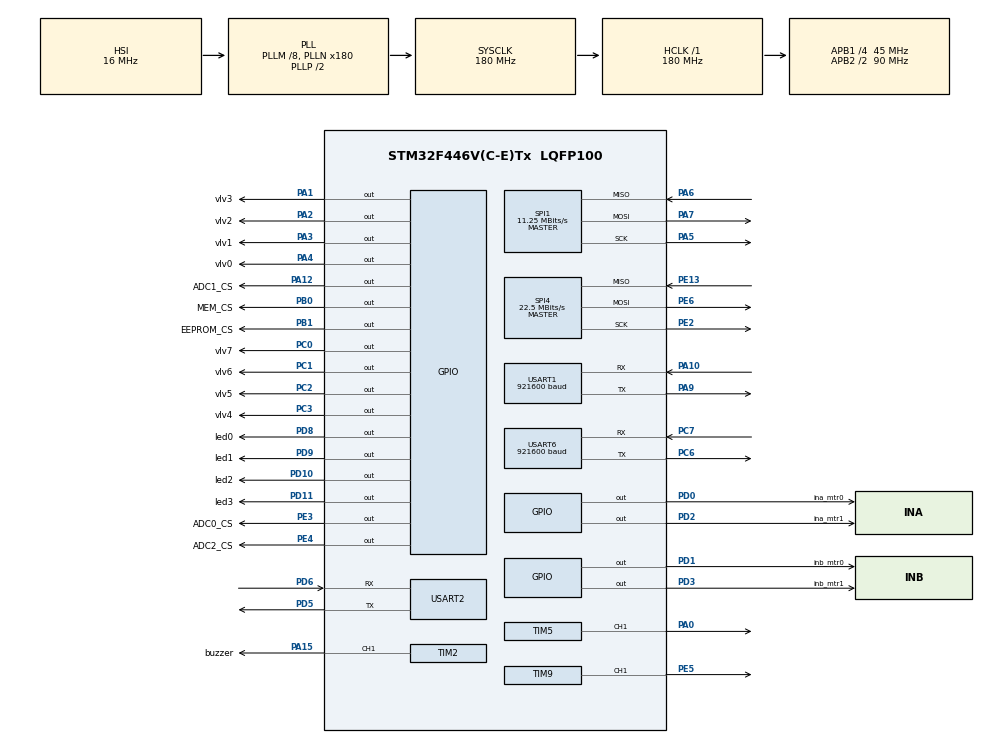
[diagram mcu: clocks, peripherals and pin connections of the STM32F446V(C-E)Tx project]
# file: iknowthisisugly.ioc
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Dma.Request0=USART6_RX
Dma.USART6_RX.0.Direction=DMA_PERIPH_TO_MEMORY
Dma.USART6_RX.0.FIFOMode=DMA_FIFOMODE_DISABLE
Dma.USART6_RX.0.Instance=DMA2_Stream1
Dma.USART6_RX.0.MemDataAlignment=DMA_MDATAALIGN_BYTE
Dma.USART6_RX.0.MemInc=DMA_MINC_ENABLE
Dma.USART6_RX.0.Mode=DMA_NORMAL
Dma.USART6_RX.0.PeriphDataAlignment=DMA_PDATAALIGN_BYTE
Dma.USART6_RX.0.PeriphInc=DMA_PINC_DISABLE
Dma.USART6_RX.0.Priority=DMA_PRIORITY_HIGH
Mcu.Family=STM32F4
Mcu.Name=STM32F446V(C-E)Tx
Mcu.Package=LQFP100
NVIC.DMA2_Stream1_IRQn=true\:0\:0\:false\:false\:true\:false
NVIC.PriorityGroup=NVIC_PRIORITYGROUP_4
NVIC.TIM4_IRQn=true\:1\:0\:true\:false\:true\:true
NVIC.TIM6_DAC_IRQn=true\:1\:0\:true\:false\:true\:true
NVIC.USART1_IRQn=true\:1\:0\:true\:false\:true\:true
NVIC.USART6_IRQn=true\:0\:0\:true\:false\:true\:true
PA0-WKUP.Signal=S_TIM5_CH1
PA1.GPIO_Label=vlv3
PA1.Signal=GPIO_Output
PA10.Mode=Asynchronous
PA10.Signal=USART1_RX
PA12.GPIO_Label=ADC1_CS
PA12.Signal=GPIO_Output
PA13.Mode=Trace_Asynchronous_SW
PA13.Signal=SYS_JTMS-SWDIO
PA14.Mode=Trace_Asynchronous_SW
PA14.Signal=SYS_JTCK-SWCLK
PA15.GPIO_Label=buzzer
PA15.Signal=S_TIM2_CH1_ETR
PA2.GPIO_Label=vlv2
PA2.Signal=GPIO_Output
PA3.GPIO_Label=vlv1
PA3.Signal=GPIO_Output
PA4.GPIO_Label=vlv0
PA4.Signal=GPIO_Output
PA5.Mode=Full_Duplex_Master
PA5.Signal=SPI1_SCK
PA6.Mode=Full_Duplex_Master
PA6.Signal=SPI1_MISO
PA7.Mode=Full_Duplex_Master
PA7.Signal=SPI1_MOSI
PA9.Mode=Asynchronous
PA9.Signal=USART1_TX
PB0.GPIO_Label=MEM_CS
PB0.Signal=GPIO_Output
PB1.GPIO_Label=EEPROM_CS
PB1.Signal=GPIO_Output
PB3.Mode=Trace_Asynchronous_SW
PB3.Signal=SYS_JTDO-SWO
PC0.GPIO_Label=vlv7
PC0.Signal=GPIO_Output
PC1.GPIO_Label=vlv6
PC1.Signal=GPIO_Output
PC2.GPIO_Label=vlv5
PC2.Signal=GPIO_Output
PC3.GPIO_Label=vlv4
PC3.Signal=GPIO_Output
PC6.Mode=Asynchronous
PC6.Signal=USART6_TX
PC7.Mode=Asynchronous
PC7.Signal=USART6_RX
PD0.GPIO_Label=ina_mtr0
PD0.Signal=GPIO_Output
PD1.GPIO_Label=inb_mtr0
PD1.Signal=GPIO_Output
PD10.GPIO_Label=led2
PD10.Signal=GPIO_Output
PD11.GPIO_Label=led3
PD11.Signal=GPIO_Output
PD2.GPIO_Label=ina_mtr1
PD2.Signal=GPIO_Output
PD3.GPIO_Label=inb_mtr1
PD3.Signal=GPIO_Output
PD5.Mode=Asynchronous
PD5.Signal=USART2_TX
PD6.Mode=Asynchronous
PD6.Signal=USART2_RX
PD8.GPIO_Label=led0
PD8.Signal=GPIO_Output
PD9.GPIO_Label=led1
PD9.Signal=GPIO_Output
PE13.Mode=Full_Duplex_Master
PE13.Signal=SPI4_MISO
PE2.Mode=Full_Duplex_Master
PE2.Signal=SPI4_SCK
PE3.GPIO_Label=ADC0_CS
PE3.Signal=GPIO_Output
PE4.GPIO_Label=ADC2_CS
PE4.Signal=GPIO_Output
PE5.Signal=S_TIM9_CH1
PE6.Mode=Full_Duplex_Master
PE6.Signal=SPI4_MOSI
ProjectManager.HeapSize=0x200
ProjectManager.StackSize=0x400
ProjectManager.TargetToolchain=TrueSTUDIO
RCC.AHBFreq_Value=180000000
RCC.APB1CLKDivider=RCC_HCLK_DIV4
RCC.APB1Freq_Value=45000000
RCC.APB1TimFreq_Value=90000000
RCC.APB2CLKDivider=RCC_HCLK_DIV2
RCC.APB2Freq_Value=90000000
RCC.APB2TimFreq_Value=180000000
RCC.CortexFreq_Value=180000000
RCC.HCLKFreq_Value=180000000
RCC.HSE_VALUE=16000000
RCC.PLLM=8
RCC.PLLN=180
RCC.SYSCLKFreq_VALUE=180000000
RCC.SYSCLKSource=RCC_SYSCLKSOURCE_PLLCLK
RCC.USBFreq_Value=180000000
RCC.VCOOutputFreq_Value=360000000
SH.S_TIM2_CH1_ETR.0=TIM2_CH1,PWM Generation1 CH1
SH.S_TIM5_CH1.0=TIM5_CH1,PWM Generation1 CH1
SH.S_TIM9_CH1.0=TIM9_CH1,PWM Generation1 CH1
SPI1.BaudRatePrescaler=SPI_BAUDRATEPRESCALER_8
SPI1.CLKPhase=SPI_PHASE_2EDGE
SPI1.CLKPolarity=SPI_POLARITY_HIGH
SPI1.CalculateBaudRate=11.25 MBits/s
SPI1.Direction=SPI_DIRECTION_2LINES
SPI1.Mode=SPI_MODE_MASTER
SPI1.VirtualType=VM_MASTER
SPI4.BaudRatePrescaler=SPI_BAUDRATEPRESCALER_4
SPI4.CalculateBaudRate=22.5 MBits/s
SPI4.Direction=SPI_DIRECTION_2LINES
SPI4.Mode=SPI_MODE_MASTER
SPI4.VirtualType=VM_MASTER
TIM10.Period=4000
TIM10.Prescaler=180
TIM2.Channel-PWM\ Generation1\ CH1=TIM_CHANNEL_1
TIM2.Period=4294967295
TIM2.Prescaler=90
TIM4.Period=10000
TIM4.Prescaler=900
TIM5.Channel-PWM\ Generation1\ CH1=TIM_CHANNEL_1
TIM5.Prescaler=0
TIM6.Period=10000
TIM6.Prescaler=900
TIM7.Prescaler=900
TIM8.Period=32768
TIM8.Prescaler=4
TIM9.Channel-PWM\ Generation1\ CH1=TIM_CHANNEL_1
TIM9.Period=32768
TIM9.Prescaler=0
USART1.BaudRate=921600
USART1.VirtualMode=VM_ASYNC
USART2.VirtualMode=VM_ASYNC
USART6.BaudRate=921600
USART6.VirtualMode=VM_ASYNC
VP_TIM10_VS_ClockSourceINT.Mode=Enable_Timer
VP_TIM3_VS_ClockSourceINT.Mode=Internal
VP_TIM4_VS_ClockSourceINT.Mode=Internal
VP_TIM6_VS_ClockSourceINT.Mode=Enable_Timer
VP_TIM7_VS_ClockSourceINT.Mode=Enable_Timer
VP_TIM8_VS_ClockSourceINT.Mode=Internal
board=iknowthisisugly

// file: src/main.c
/**
  ******************************************************************************
  * @file           : main.c
  * @brief          : Main program body
  ******************************************************************************
  ** This notice applies to any and all portions of this file
  * that are not between comment pairs USER CODE BEGIN and
  * USER CODE END. Other portions of this file, whether
  * inserted by the user or by software development tools
  * are owned by their respective copyright owners.
  *
  * COPYRIGHT(c) 2018 STMicroelectronics
  *
  * Redistribution and use in source and binary forms, with or without modification,
  * are permitted provided that the following conditions are met:
  *   1. Redistributions of source code must retain the above copyright notice,
  *      this list of conditions and the following disclaimer.
  *   2. Redistributions in binary form must reproduce the above copyright notice,
  *      this list of conditions and the following disclaimer in the documentation
  *      and/or other materials provided with the distribution.
  *   3. Neither the name of STMicroelectronics nor the names of its contributors
  *      may be used to endorse or promote products derived from this software
  *      without specific prior written permission.
  *
  * THIS SOFTWARE IS PROVIDED BY THE COPYRIGHT HOLDERS AND CONTRIBUTORS "AS IS"
  * AND ANY EXPRESS OR IMPLIED WARRANTIES, INCLUDING, BUT NOT LIMITED TO, THE
  * IMPLIED WARRANTIES OF MERCHANTABILITY AND FITNESS FOR A PARTICULAR PURPOSE ARE
  * DISCLAIMED. IN NO EVENT SHALL THE COPYRIGHT HOLDER OR CONTRIBUTORS BE LIABLE
  * FOR ANY DIRECT, INDIRECT, INCIDENTAL, SPECIAL, EXEMPLARY, OR CONSEQUENTIAL
  * DAMAGES (INCLUDING, BUT NOT LIMITED TO, PROCUREMENT OF SUBSTITUTE GOODS OR
  * SERVICES; LOSS OF USE, DATA, OR PROFITS; OR BUSINESS INTERRUPTION) HOWEVER
  * CAUSED AND ON ANY THEORY OF LIABILITY, WHETHER IN CONTRACT, STRICT LIABILITY,
  * OR TORT (INCLUDING NEGLIGENCE OR OTHERWISE) ARISING IN ANY WAY OUT OF THE USE
  * OF THIS SOFTWARE, EVEN IF ADVISED OF THE POSSIBILITY OF SUCH DAMAGE.
  *
  ******************************************************************************
  */
#include "main.h"
#include "stm32f4xx_hal.h"

/* USER CODE BEGIN Includes */
#include "stdint.h"
#include "stdlib.h"
#include "globals.h"
#include "calibrations.h"
#include "telem.h"
#include "pack_telem_defines.h"
/* USER CODE END Includes */

SPI_HandleTypeDef hspi1;
SPI_HandleTypeDef hspi4;

TIM_HandleTypeDef htim2;
TIM_HandleTypeDef htim3;
TIM_HandleTypeDef htim4;
TIM_HandleTypeDef htim5;
TIM_HandleTypeDef htim6;
TIM_HandleTypeDef htim7;
TIM_HandleTypeDef htim8;
TIM_HandleTypeDef htim9;
TIM_HandleTypeDef htim10;

UART_HandleTypeDef huart1;
UART_HandleTypeDef huart2;
UART_HandleTypeDef huart6;
DMA_HandleTypeDef hdma_usart6_rx;

/* USER CODE BEGIN PV */
/* Private variables ---------------------------------------------------------*/

#define getName(var)  #var
#define get_state(x) (states[x])
#define TIME(x)			(x[0] = (__HAL_TIM_GET_COUNTER(&htim2) - x[1])+1); \
						(x[1] = __HAL_TIM_GET_COUNTER(&htim2))

#define micros	__HAL_TIM_GET_COUNTER(&htim2)
#define millis	((__HAL_TIM_GET_COUNTER(&htim2))/1000)

/* USER CODE END PV */

void SystemClock_Config(void);
static void MX_GPIO_Init(void);
static void MX_DMA_Init(void);
static void MX_SPI1_Init(void);
static void MX_SPI4_Init(void);
static void MX_TIM2_Init(void);
static void MX_TIM9_Init(void);
static void MX_USART1_UART_Init(void);
static void MX_USART2_UART_Init(void);
static void MX_USART6_UART_Init(void);
static void MX_TIM3_Init(void);
static void MX_TIM4_Init(void);
static void MX_TIM6_Init(void);
static void MX_TIM7_Init(void);
static void MX_TIM8_Init(void);
static void MX_TIM10_Init(void);
static void MX_TIM5_Init(void);

void HAL_TIM_MspPostInit(TIM_HandleTypeDef *htim);

/* USER CODE BEGIN PFP */
/* Private function prototypes -----------------------------------------------*/

// Function prototypes  ///////////////////////////////////
void command(uint8_t device, int16_t command_value);	 	// Motors, valves
void select_device(uint8_t device);							// For SPI Devices
void release_device(uint8_t device);						// For SPI Devices
void read_adc_brute();										// Brute force read all the adcs. Blocking. Slow. Lazy.
void print_adc_raw(UART_HandleTypeDef device);				// Print all the ADC things in a decentish table
uint8_t configure_devices();								// Send Configuration data to the spirit.
void send_telem(UART_HandleTypeDef device, uint8_t format);	//
void assemble_telem();
uint32_t serial_command(uint8_t* cbuf_in);
void scale_readings();
void buffer_init(struct buffer *b, uint8_t* data_buffer, size_t size, uint8_t id);
void buffer_read(struct buffer *b, uint8_t* dst, size_t size);
void buffer_write(struct buffer *b, uint8_t* src, size_t size);
void parse_buffer(struct buffer *b);
void setpwm(TIM_HandleTypeDef timer, uint32_t channel, uint16_t period, uint16_t pulse);
void error(char * error_message);
void writeMotor(uint8_t device, int16_t motor_command);
void motor_control();
void read_thermocouples();
void run_auto(struct autosequence *a);
void start_auto(struct autosequence *a);
void stop_auto(struct autosequence *a);
void kill_auto(struct autosequence *a);

// END Function prototypes  ///////////////////////////////

/* USER CODE END PFP */

int main(void)
{

  /* MCU Configuration----------------------------------------------------------*/

  /* Reset of all peripherals, Initializes the Flash interface and the Systick. */
  HAL_Init();

  /* Configure the system clock */
  SystemClock_Config();

  /* Initialize all configured peripherals */
  MX_GPIO_Init();
  MX_DMA_Init();
  MX_SPI1_Init();
  MX_SPI4_Init();
  MX_TIM2_Init();
  MX_TIM9_Init();
  MX_USART1_UART_Init();
  MX_USART2_UART_Init();
  MX_USART6_UART_Init();
  MX_TIM3_Init();
  MX_TIM4_Init();
  MX_TIM6_Init();
  MX_TIM7_Init();
  MX_TIM8_Init();
  MX_TIM10_Init();
  MX_TIM5_Init();
  /* USER CODE BEGIN 2 */

  STATE = MANUAL;
  // Init device alias array because idk how to do it without strcpy :(
	temp = 0;
	for(uint8_t device = vlv0; device <= vlv15; device ++){
	  uint8_t alias[10] = "vlv";
	  if(device < vlv10){
		  alias[3] = temp++ + 48;
	  }
	  else{
		  alias[3] = 1 + 48;
		  alias[4] = temp++ + 38;
	  }
	  strcpy(device_alias[device], alias);
	}
	strcpy(device_alias[delay], "delay");
	strcpy(device_alias[led0], "led0");
	strcpy(device_alias[mtr0], "mtr0");
	strcpy(device_alias[mtr1], "mtr1");
	strcpy(device_alias[mtr2], "mtr2");
	strcpy(device_alias[mtr3], "mtr3");

	// Set auto numbers
	for(int n = 0; n < NUM_AUTOS; n++){
		autos[n].number = n;
	}

	serial_command("set samplerate 50");
	// Motor control loop rate
	htim10.Instance = TIM10;
	htim10.Init.Prescaler = 180;
	htim10.Init.CounterMode = TIM_COUNTERMODE_UP;
	htim10.Init.Period = 10000;
	htim10.Init.ClockDivision = TIM_CLOCKDIVISION_DIV1;
	if (HAL_TIM_Base_Init(&htim10) != HAL_OK)
	{
	Error_Handler();
	}

	// Start the timers
	HAL_TIM_Base_Start_IT(&htim4);		// ADC sampling
	HAL_TIM_Base_Start_IT(&htim6);		// rs422 timing
	HAL_TIM_Base_Start_IT(&htim7);		// xbee timing
	HAL_TIM_Base_Start_IT(&htim10);		// motor control timing
	HAL_TIM_Base_Start_IT(&htim2);		// microsecond tick

	HAL_TIM_PWM_Start(&htim9, TIM_CHANNEL_1); 	// mtr0
	HAL_TIM_PWM_Start(&htim5, TIM_CHANNEL_1);	// mtr1
	HAL_TIM_PWM_Start(&htim8, TIM_CHANNEL_1);	// mtr2
	HAL_TIM_PWM_Start(&htim12, TIM_CHANNEL_1);	// mtr3

	// Release all SPI devices
	release_device(adc0);
	release_device(adc1);
	release_device(adc2);
	release_device(adc3);
	release_device(adc4);
	release_device(sram);
	release_device(flash);
	release_device(tc0);
	release_device(tc1);
	release_device(tc2);
	release_device(tc3);
	release_device(spirit);		// Technically not a SPI device

	configure_devices();

	// Start receiving data
	select_device(spirit);

	buffer_init(&spirit_buf, spirit_data_buf, UART_BUFFER_SIZE, spirit);
	buffer_init(&rs422_buf, rs422_data_buf, UART_BUFFER_SIZE, rs422);
	buffer_init(&xbee_buf, xbee_data_buf, UART_BUFFER_SIZE, xbee);

	HAL_UART_Receive_IT(&spirit_com, &spirit_in, 1);
	HAL_UART_Receive_IT(&rs422_com, &rs422_in, 1);
	HAL_UART_Receive_IT(&xbee_com, &xbee_in, 1);
	//

  /* USER CODE END 2 */

  /* Infinite loop */
  /* USER CODE BEGIN WHILE */

//while(1){
//	read_adc_brute();
//	scale_readings();
//	TIME(adc_cycle_time);
//	send_telem(rs422_com, full_pretty);
//	HAL_Delay(100);
//}

// Auto test
//autos[0].device[0] = led0;
//autos[0].command[0] = 1;
//autos[0].device[1] = delay;
//autos[0].command[1] = 250;
//autos[0].device[2] = led0;
//autos[0].command[2] = 0;
//autos[0].device[3] = delay;
//autos[0].command[3] = 1000;
//autos[0].length = 3;
//
//start_auto(0);

//strcpy(autos[0].command[0], "command led0 1\r");
//strcpy(autos[0].command[1], "delay 250\r");
//strcpy(autos[0].command[2], "command led0 0\r");
//strcpy(autos[0].command[3], "delay 500\r");
//autos[0].length = 3;

  while(1){
	  HAL_Delay(100);
	  read_adc_brute();
	  scale_readings();
  }
  /* USER CODE END WHILE */

  }

}

void SystemClock_Config(void)
{

  RCC_OscInitTypeDef RCC_OscInitStruct;
  RCC_ClkInitTypeDef RCC_ClkInitStruct;

    /**Configure the main internal regulator output voltage
    */
  __HAL_RCC_PWR_CLK_ENABLE();

  __HAL_PWR_VOLTAGESCALING_CONFIG(PWR_REGULATOR_VOLTAGE_SCALE1);

    /**Initializes the CPU, AHB and APB busses clocks
    */
  RCC_OscInitStruct.OscillatorType = RCC_OSCILLATORTYPE_HSI;
  RCC_OscInitStruct.HSIState = RCC_HSI_ON;
  RCC_OscInitStruct.HSICalibrationValue = 16;
  RCC_OscInitStruct.PLL.PLLState = RCC_PLL_ON;
  RCC_OscInitStruct.PLL.PLLSource = RCC_PLLSOURCE_HSI;
  RCC_OscInitStruct.PLL.PLLM = 8;
  RCC_OscInitStruct.PLL.PLLN = 180;
  RCC_OscInitStruct.PLL.PLLP = RCC_PLLP_DIV2;
  RCC_OscInitStruct.PLL.PLLQ = 2;
  RCC_OscInitStruct.PLL.PLLR = 2;
  if (HAL_RCC_OscConfig(&RCC_OscInitStruct) != HAL_OK)
  {
    _Error_Handler(__FILE__, __LINE__);
  }

    /**Activate the Over-Drive mode
    */
  if (HAL_PWREx_EnableOverDrive() != HAL_OK)
  {
    _Error_Handler(__FILE__, __LINE__);
  }

    /**Initializes the CPU, AHB and APB busses clocks
    */
  RCC_ClkInitStruct.ClockType = RCC_CLOCKTYPE_HCLK|RCC_CLOCKTYPE_SYSCLK
                              |RCC_CLOCKTYPE_PCLK1|RCC_CLOCKTYPE_PCLK2;
  RCC_ClkInitStruct.SYSCLKSource = RCC_SYSCLKSOURCE_PLLCLK;
  RCC_ClkInitStruct.AHBCLKDivider = RCC_SYSCLK_DIV1;
  RCC_ClkInitStruct.APB1CLKDivider = RCC_HCLK_DIV4;
  RCC_ClkInitStruct.APB2CLKDivider = RCC_HCLK_DIV2;

  if (HAL_RCC_ClockConfig(&RCC_ClkInitStruct, FLASH_LATENCY_5) != HAL_OK)
  {
    _Error_Handler(__FILE__, __LINE__);
  }

    /**Configure the Systick interrupt time
    */
  HAL_SYSTICK_Config(HAL_RCC_GetHCLKFreq()/1000);

    /**Configure the Systick
    */
  HAL_SYSTICK_CLKSourceConfig(SYSTICK_CLKSOURCE_HCLK);

  /* SysTick_IRQn interrupt configuration */
  HAL_NVIC_SetPriority(SysTick_IRQn, 1, 0);
}

/* SPI1 init function */
static void MX_SPI1_Init(void)
{

  /* SPI1 parameter configuration*/
  hspi1.Instance = SPI1;
  hspi1.Init.Mode = SPI_MODE_MASTER;
  hspi1.Init.Direction = SPI_DIRECTION_2LINES;
  hspi1.Init.DataSize = SPI_DATASIZE_8BIT;
  hspi1.Init.CLKPolarity = SPI_POLARITY_HIGH;
  hspi1.Init.CLKPhase = SPI_PHASE_2EDGE;
  hspi1.Init.NSS = SPI_NSS_SOFT;
  hspi1.Init.BaudRatePrescaler = SPI_BAUDRATEPRESCALER_8;
  hspi1.Init.FirstBit = SPI_FIRSTBIT_MSB;
  hspi1.Init.TIMode = SPI_TIMODE_DISABLE;
  hspi1.Init.CRCCalculation = SPI_CRCCALCULATION_DISABLE;
  hspi1.Init.CRCPolynomial = 10;
  if (HAL_SPI_Init(&hspi1) != HAL_OK)
  {
    _Error_Handler(__FILE__, __LINE__);
  }

}

/* SPI4 init function */
static void MX_SPI4_Init(void)
{

  /* SPI4 parameter configuration*/
  hspi4.Instance = SPI4;
  hspi4.Init.Mode = SPI_MODE_MASTER;
  hspi4.Init.Direction = SPI_DIRECTION_2LINES;
  hspi4.Init.DataSize = SPI_DATASIZE_8BIT;
  hspi4.Init.CLKPolarity = SPI_POLARITY_LOW;
  hspi4.Init.CLKPhase = SPI_PHASE_1EDGE;
  hspi4.Init.NSS = SPI_NSS_SOFT;
  hspi4.Init.BaudRatePrescaler = SPI_BAUDRATEPRESCALER_4;
  hspi4.Init.FirstBit = SPI_FIRSTBIT_MSB;
  hspi4.Init.TIMode = SPI_TIMODE_DISABLE;
  hspi4.Init.CRCCalculation = SPI_CRCCALCULATION_DISABLE;
  hspi4.Init.CRCPolynomial = 10;
  if (HAL_SPI_Init(&hspi4) != HAL_OK)
  {
    _Error_Handler(__FILE__, __LINE__);
  }

}

/* TIM2 init function */
static void MX_TIM2_Init(void)
{

  TIM_MasterConfigTypeDef sMasterConfig;
  TIM_OC_InitTypeDef sConfigOC;

  htim2.Instance = TIM2;
  htim2.Init.Prescaler = 90;
  htim2.Init.CounterMode = TIM_COUNTERMODE_UP;
  htim2.Init.Period = 4294967295;
  htim2.Init.ClockDivision = TIM_CLOCKDIVISION_DIV1;
  if (HAL_TIM_PWM_Init(&htim2) != HAL_OK)
  {
    _Error_Handler(__FILE__, __LINE__);
  }

  sMasterConfig.MasterOutputTrigger = TIM_TRGO_RESET;
  sMasterConfig.MasterSlaveMode = TIM_MASTERSLAVEMODE_DISABLE;
  if (HAL_TIMEx_MasterConfigSynchronization(&htim2, &sMasterConfig) != HAL_OK)
  {
    _Error_Handler(__FILE__, __LINE__);
  }

  sConfigOC.OCMode = TIM_OCMODE_PWM1;
  sConfigOC.Pulse = 0;
  sConfigOC.OCPolarity = TIM_OCPOLARITY_HIGH;
  sConfigOC.OCFastMode = TIM_OCFAST_DISABLE;
  if (HAL_TIM_PWM_ConfigChannel(&htim2, &sConfigOC, TIM_CHANNEL_1) != HAL_OK)
  {
    _Error_Handler(__FILE__, __LINE__);
  }

  HAL_TIM_MspPostInit(&htim2);

}

/* TIM3 init function */
static void MX_TIM3_Init(void)
{

  TIM_ClockConfigTypeDef sClockSourceConfig;
  TIM_MasterConfigTypeDef sMasterConfig;

  htim3.Instance = TIM3;
  htim3.Init.Prescaler = 0;
  htim3.Init.CounterMode = TIM_COUNTERMODE_UP;
  htim3.Init.Period = 0;
  htim3.Init.ClockDivision = TIM_CLOCKDIVISION_DIV1;
  if (HAL_TIM_Base_Init(&htim3) != HAL_OK)
  {
    _Error_Handler(__FILE__, __LINE__);
  }

  sClockSourceConfig.ClockSource = TIM_CLOCKSOURCE_INTERNAL;
  if (HAL_TIM_ConfigClockSource(&htim3, &sClockSourceConfig) != HAL_OK)
  {
    _Error_Handler(__FILE__, __LINE__);
  }

  sMasterConfig.MasterOutputTrigger = TIM_TRGO_RESET;
  sMasterConfig.MasterSlaveMode = TIM_MASTERSLAVEMODE_DISABLE;
  if (HAL_TIMEx_MasterConfigSynchronization(&htim3, &sMasterConfig) != HAL_OK)
  {
    _Error_Handler(__FILE__, __LINE__);
  }

}

/* TIM4 init function */
static void MX_TIM4_Init(void)
{

  TIM_ClockConfigTypeDef sClockSourceConfig;
  TIM_MasterConfigTypeDef sMasterConfig;

  htim4.Instance = TIM4;
  htim4.Init.Prescaler = 900;
  htim4.Init.CounterMode = TIM_COUNTERMODE_UP;
  htim4.Init.Period = 10000;
  htim4.Init.ClockDivision = TIM_CLOCKDIVISION_DIV1;
  if (HAL_TIM_Base_Init(&htim4) != HAL_OK)
  {
    _Error_Handler(__FILE__, __LINE__);
  }

  sClockSourceConfig.ClockSource = TIM_CLOCKSOURCE_INTERNAL;
  if (HAL_TIM_ConfigClockSource(&htim4, &sClockSourceConfig) != HAL_OK)
  {
    _Error_Handler(__FILE__, __LINE__);
  }

  sMasterConfig.MasterOutputTrigger = TIM_TRGO_RESET;
  sMasterConfig.MasterSlaveMode = TIM_MASTERSLAVEMODE_DISABLE;
  if (HAL_TIMEx_MasterConfigSynchronization(&htim4, &sMasterConfig) != HAL_OK)
  {
    _Error_Handler(__FILE__, __LINE__);
  }

}

/* TIM5 init function */
static void MX_TIM5_Init(void)
{

  TIM_MasterConfigTypeDef sMasterConfig;
  TIM_OC_InitTypeDef sConfigOC;

  htim5.Instance = TIM5;
  htim5.Init.Prescaler = 0;
  htim5.Init.CounterMode = TIM_COUNTERMODE_UP;
  htim5.Init.Period = 0;
  htim5.Init.ClockDivision = TIM_CLOCKDIVISION_DIV1;
  if (HAL_TIM_PWM_Init(&htim5) != HAL_OK)
  {
    _Error_Handler(__FILE__, __LINE__);
  }

  sMasterConfig.MasterOutputTrigger = TIM_TRGO_RESET;
  sMasterConfig.MasterSlaveMode = TIM_MASTERSLAVEMODE_DISABLE;
  if (HAL_TIMEx_MasterConfigSynchronization(&htim5, &sMasterConfig) != HAL_OK)
  {
    _Error_Handler(__FILE__, __LINE__);
  }

  sConfigOC.OCMode = TIM_OCMODE_PWM1;
  sConfigOC.Pulse = 0;
  sConfigOC.OCPolarity = TIM_OCPOLARITY_HIGH;
  sConfigOC.OCFastMode = TIM_OCFAST_DISABLE;
  if (HAL_TIM_PWM_ConfigChannel(&htim5, &sConfigOC, TIM_CHANNEL_1) != HAL_OK)
  {
    _Error_Handler(__FILE__, __LINE__);
  }

  HAL_TIM_MspPostInit(&htim5);

}

/* TIM6 init function */
static void MX_TIM6_Init(void)
{

  TIM_MasterConfigTypeDef sMasterConfig;

  htim6.Instance = TIM6;
  htim6.Init.Prescaler = 900;
  htim6.Init.CounterMode = TIM_COUNTERMODE_UP;
  htim6.Init.Period = 10000;
  if (HAL_TIM_Base_Init(&htim6) != HAL_OK)
  {
    _Error_Handler(__FILE__, __LINE__);
  }

  sMasterConfig.MasterOutputTrigger = TIM_TRGO_RESET;
  sMasterConfig.MasterSlaveMode = TIM_MASTERSLAVEMODE_DISABLE;
  if (HAL_TIMEx_MasterConfigSynchronization(&htim6, &sMasterConfig) != HAL_OK)
  {
    _Error_Handler(__FILE__, __LINE__);
  }

}

/* TIM7 init function */
static void MX_TIM7_Init(void)
{

  TIM_MasterConfigTypeDef sMasterConfig;

  htim7.Instance = TIM7;
  htim7.Init.Prescaler = 900;
  htim7.Init.CounterMode = TIM_COUNTERMODE_UP;
  htim7.Init.Period = 0;
  if (HAL_TIM_Base_Init(&htim7) != HAL_OK)
  {
    _Error_Handler(__FILE__, __LINE__);
  }

  sMasterConfig.MasterOutputTrigger = TIM_TRGO_RESET;
  sMasterConfig.MasterSlaveMode = TIM_MASTERSLAVEMODE_DISABLE;
  if (HAL_TIMEx_MasterConfigSynchronization(&htim7, &sMasterConfig) != HAL_OK)
  {
    _Error_Handler(__FILE__, __LINE__);
  }

}

/* TIM8 init function */
static void MX_TIM8_Init(void)
{

  TIM_ClockConfigTypeDef sClockSourceConfig;
  TIM_MasterConfigTypeDef sMasterConfig;

  htim8.Instance = TIM8;
  htim8.Init.Prescaler = 4;
  htim8.Init.CounterMode = TIM_COUNTERMODE_UP;
  htim8.Init.Period = 32768;
  htim8.Init.ClockDivision = TIM_CLOCKDIVISION_DIV1;
  htim8.Init.RepetitionCounter = 0;
  if (HAL_TIM_Base_Init(&htim8) != HAL_OK)
  {
    _Error_Handler(__FILE__, __LINE__);
  }

  sClockSourceConfig.ClockSource = TIM_CLOCKSOURCE_INTERNAL;
  if (HAL_TIM_ConfigClockSource(&htim8, &sClockSourceConfig) != HAL_OK)
  {
    _Error_Handler(__FILE__, __LINE__);
  }

  sMasterConfig.MasterOutputTrigger = TIM_TRGO_RESET;
  sMasterConfig.MasterSlaveMode = TIM_MASTERSLAVEMODE_DISABLE;
  if (HAL_TIMEx_MasterConfigSynchronization(&htim8, &sMasterConfig) != HAL_OK)
  {
    _Error_Handler(__FILE__, __LINE__);
  }

}

/* TIM9 init function */
static void MX_TIM9_Init(void)
{

  TIM_OC_InitTypeDef sConfigOC;

  htim9.Instance = TIM9;
  htim9.Init.Prescaler = 0;
  htim9.Init.CounterMode = TIM_COUNTERMODE_UP;
  htim9.Init.Period = 32768;
  htim9.Init.ClockDivision = TIM_CLOCKDIVISION_DIV1;
  if (HAL_TIM_PWM_Init(&htim9) != HAL_OK)
  {
    _Error_Handler(__FILE__, __LINE__);
  }

  sConfigOC.OCMode = TIM_OCMODE_PWM1;
  sConfigOC.Pulse = 0;
  sConfigOC.OCPolarity = TIM_OCPOLARITY_HIGH;
  sConfigOC.OCFastMode = TIM_OCFAST_DISABLE;
  if (HAL_TIM_PWM_ConfigChannel(&htim9, &sConfigOC, TIM_CHANNEL_1) != HAL_OK)
  {
    _Error_Handler(__FILE__, __LINE__);
  }

  HAL_TIM_MspPostInit(&htim9);

}

/* TIM10 init function */
static void MX_TIM10_Init(void)
{

  htim10.Instance = TIM10;
  htim10.Init.Prescaler = 180;
  htim10.Init.CounterMode = TIM_COUNTERMODE_UP;
  htim10.Init.Period = 4000;
  htim10.Init.ClockDivision = TIM_CLOCKDIVISION_DIV1;
  if (HAL_TIM_Base_Init(&htim10) != HAL_OK)
  {
    _Error_Handler(__FILE__, __LINE__);
  }

}

/* USART1 init function */
static void MX_USART1_UART_Init(void)
{

  huart1.Instance = USART1;
  huart1.Init.BaudRate = 921600;
  huart1.Init.WordLength = UART_WORDLENGTH_8B;
  huart1.Init.StopBits = UART_STOPBITS_1;
  huart1.Init.Parity = UART_PARITY_NONE;
  huart1.Init.Mode = UART_MODE_TX_RX;
  huart1.Init.HwFlowCtl = UART_HWCONTROL_NONE;
  huart1.Init.OverSampling = UART_OVERSAMPLING_16;
  if (HAL_UART_Init(&huart1) != HAL_OK)
  {
    _Error_Handler(__FILE__, __LINE__);
  }

}

/* USART2 init function */
static void MX_USART2_UART_Init(void)
{

  huart2.Instance = USART2;
  huart2.Init.BaudRate = 115200;
  huart2.Init.WordLength = UART_WORDLENGTH_8B;
  huart2.Init.StopBits = UART_STOPBITS_1;
  huart2.Init.Parity = UART_PARITY_NONE;
  huart2.Init.Mode = UART_MODE_TX_RX;
  huart2.Init.HwFlowCtl = UART_HWCONTROL_NONE;
  huart2.Init.OverSampling = UART_OVERSAMPLING_16;
  if (HAL_UART_Init(&huart2) != HAL_OK)
  {
    _Error_Handler(__FILE__, __LINE__);
  }

}

/* USART6 init function */
static void MX_USART6_UART_Init(void)
{

  huart6.Instance = USART6;
  huart6.Init.BaudRate = 921600;
  huart6.Init.WordLength = UART_WORDLENGTH_8B;
  huart6.Init.StopBits = UART_STOPBITS_1;
  huart6.Init.Parity = UART_PARITY_NONE;
  huart6.Init.Mode = UART_MODE_TX_RX;
  huart6.Init.HwFlowCtl = UART_HWCONTROL_NONE;
  huart6.Init.OverSampling = UART_OVERSAMPLING_16;
  if (HAL_UART_Init(&huart6) != HAL_OK)
  {
    _Error_Handler(__FILE__, __LINE__);
  }

}

static void MX_DMA_Init(void)
{
  /* DMA controller clock enable */
  __HAL_RCC_DMA2_CLK_ENABLE();

  /* DMA interrupt init */
  /* DMA2_Stream1_IRQn interrupt configuration */
  HAL_NVIC_SetPriority(DMA2_Stream1_IRQn, 0, 0);
  HAL_NVIC_EnableIRQ(DMA2_Stream1_IRQn);

}

/** Configure pins as
        * Analog
        * Input
        * Output
        * EVENT_OUT
        * EXTI
*/
static void MX_GPIO_Init(void)
{

  GPIO_InitTypeDef GPIO_InitStruct;

  /* GPIO Ports Clock Enable */
  __HAL_RCC_GPIOE_CLK_ENABLE();
  __HAL_RCC_GPIOC_CLK_ENABLE();
  __HAL_RCC_GPIOA_CLK_ENABLE();
  __HAL_RCC_GPIOB_CLK_ENABLE();
  __HAL_RCC_GPIOD_CLK_ENABLE();

  /*Configure GPIO pin Output Level */
  HAL_GPIO_WritePin(GPIOE, ADC0_CS_Pin|ADC2_CS_Pin, GPIO_PIN_RESET);

  /*Configure GPIO pin Output Level */
  HAL_GPIO_WritePin(GPIOC, vlv7_Pin|vlv6_Pin|vlv5_Pin|vlv4_Pin, GPIO_PIN_RESET);

  /*Configure GPIO pin Output Level */
  HAL_GPIO_WritePin(GPIOA, vlv3_Pin|vlv2_Pin|vlv1_Pin|vlv0_Pin
                          |ADC1_CS_Pin, GPIO_PIN_RESET);

  /*Configure GPIO pin Output Level */
  HAL_GPIO_WritePin(GPIOB, MEM_CS_Pin|EEPROM_CS_Pin, GPIO_PIN_RESET);

  /*Configure GPIO pin Output Level */
  HAL_GPIO_WritePin(GPIOD, led0_Pin|led1_Pin|led2_Pin|led3_Pin
                          |ina_mtr0_Pin|inb_mtr0_Pin|ina_mtr1_Pin|inb_mtr1_Pin, GPIO_PIN_RESET);

  /*Configure GPIO pins : ADC0_CS_Pin ADC2_CS_Pin */
  GPIO_InitStruct.Pin = ADC0_CS_Pin|ADC2_CS_Pin;
  GPIO_InitStruct.Mode = GPIO_MODE_OUTPUT_PP;
  GPIO_InitStruct.Pull = GPIO_NOPULL;
  GPIO_InitStruct.Speed = GPIO_SPEED_FREQ_LOW;
  HAL_GPIO_Init(GPIOE, &GPIO_InitStruct);

  /*Configure GPIO pins : vlv7_Pin vlv6_Pin vlv5_Pin vlv4_Pin */
  GPIO_InitStruct.Pin = vlv7_Pin|vlv6_Pin|vlv5_Pin|vlv4_Pin;
  GPIO_InitStruct.Mode = GPIO_MODE_OUTPUT_PP;
  GPIO_InitStruct.Pull = GPIO_NOPULL;
  GPIO_InitStruct.Speed = GPIO_SPEED_FREQ_LOW;
  HAL_GPIO_Init(GPIOC, &GPIO_InitStruct);

  /*Configure GPIO pins : vlv3_Pin vlv2_Pin vlv1_Pin vlv0_Pin
                           ADC1_CS_Pin */
  GPIO_InitStruct.Pin = vlv3_Pin|vlv2_Pin|vlv1_Pin|vlv0_Pin
                          |ADC1_CS_Pin;
  GPIO_InitStruct.Mode = GPIO_MODE_OUTPUT_PP;
  GPIO_InitStruct.Pull = GPIO_NOPULL;
  GPIO_InitStruct.Speed = GPIO_SPEED_FREQ_LOW;
  HAL_GPIO_Init(GPIOA, &GPIO_InitStruct);

  /*Configure GPIO pins : MEM_CS_Pin EEPROM_CS_Pin */
  GPIO_InitStruct.Pin = MEM_CS_Pin|EEPROM_CS_Pin;
  GPIO_InitStruct.Mode = GPIO_MODE_OUTPUT_PP;
  GPIO_InitStruct.Pull = GPIO_NOPULL;
  GPIO_InitStruct.Speed = GPIO_SPEED_FREQ_LOW;
  HAL_GPIO_Init(GPIOB, &GPIO_InitStruct);

  /*Configure GPIO pins : led0_Pin led1_Pin led2_Pin led3_Pin
                           ina_mtr0_Pin inb_mtr0_Pin ina_mtr1_Pin inb_mtr1_Pin */
  GPIO_InitStruct.Pin = led0_Pin|led1_Pin|led2_Pin|led3_Pin
                          |ina_mtr0_Pin|inb_mtr0_Pin|ina_mtr1_Pin|inb_mtr1_Pin;
  GPIO_InitStruct.Mode = GPIO_MODE_OUTPUT_PP;
  GPIO_InitStruct.Pull = GPIO_NOPULL;
  GPIO_InitStruct.Speed = GPIO_SPEED_FREQ_LOW;
  HAL_GPIO_Init(GPIOD, &GPIO_InitStruct);

}

/* USER CODE BEGIN 4 */
// Functions

// High Level
void command(uint8_t device, int16_t command_value){

	// VALVE CHANNELS ///////////////////////////////////////////////////////////////////
	if((device < 40) && (device >= 20)){ // It is a valve channel (or led)

		// If else will default to a de-energized state if a bad command is sent.
		GPIO_PinState GPIO_COMMAND;

		uint16_t mask = 1;
		mask = mask << (device - vlv0);

		if(command_value == 1){
			GPIO_COMMAND = GPIO_PIN_SET;
			valve_states |= mask;
		}
		else{
			GPIO_COMMAND = GPIO_PIN_RESET;
			mask ^= 0xFFFF;
			valve_states &= mask;
		}
		switch(device){
			case vlv0:
				HAL_GPIO_WritePin(GPIOA, GPIO_PIN_12, GPIO_COMMAND);
				break;
			case vlv1:
				HAL_GPIO_WritePin(GPIOA, GPIO_PIN_11, GPIO_COMMAND);
				break;
			case vlv2:
				HAL_GPIO_WritePin(GPIOA, GPIO_PIN_8, GPIO_COMMAND);
				break;
			case vlv3:
				HAL_GPIO_WritePin(GPIOC, GPIO_PIN_9, GPIO_COMMAND);
				break;
			case vlv4:
				HAL_GPIO_WritePin(GPIOC, GPIO_PIN_7, GPIO_COMMAND);
				break;
			case vlv5:
				HAL_GPIO_WritePin(GPIOD, GPIO_PIN_15, GPIO_COMMAND);
				break;
			case vlv6:
				HAL_GPIO_WritePin(GPIOD, GPIO_PIN_14, GPIO_COMMAND);
				break;
			case vlv7:
				HAL_GPIO_WritePin(GPIOD, GPIO_PIN_13, GPIO_COMMAND);
				break;
			case vlv8:
				HAL_GPIO_WritePin(GPIOD, GPIO_PIN_12, GPIO_COMMAND);
				break;
			case vlv9:
				HAL_GPIO_WritePin(GPIOD, GPIO_PIN_11, GPIO_COMMAND);
				break;
			case vlv10:
				HAL_GPIO_WritePin(GPIOD, GPIO_PIN_10, GPIO_COMMAND);
				break;
			case vlv11:
				HAL_GPIO_WritePin(GPIOD, GPIO_PIN_9, GPIO_COMMAND);
				break;
			case vlv12:
				HAL_GPIO_WritePin(GPIOD, GPIO_PIN_8, GPIO_COMMAND);
				break;
			case vlv13:
				HAL_GPIO_WritePin(GPIOB, GPIO_PIN_15, GPIO_COMMAND);
				break;
			case vlv14:
				HAL_GPIO_WritePin(GPIOB, GPIO_PIN_13, GPIO_COMMAND);
				break;
			case vlv15:
				HAL_GPIO_WritePin(GPIOB, GPIO_PIN_12, GPIO_COMMAND);
				break;

			case led0:
				HAL_GPIO_WritePin(GPIOE, GPIO_PIN_11, GPIO_COMMAND);
				break;

		}

	} // END VALVES

	// BEGIN MOTORS
	else if( (device >= mtr0) && (device <= mtr3) ){

		motor_setpoint[device-mtr0] = command_value;
		//writeMotor(device, command_value); 		// DEBUGGING ONLY - DELETE EVENTUALLY

	}	// END MOTORS

}
// General Utilities
void select_device(uint8_t device){
	switch(device){
		case adc0:
			HAL_GPIO_WritePin(GPIOC, GPIO_PIN_12, GPIO_PIN_RESET);
			break;
		case adc1:
			HAL_GPIO_WritePin(GPIOE, GPIO_PIN_15, GPIO_PIN_RESET);
			break;
		case adc2:
			HAL_GPIO_WritePin(GPIOD, GPIO_PIN_0, GPIO_PIN_RESET);
			break;
		case adc3:
			HAL_GPIO_WritePin(GPIOE, GPIO_PIN_14, GPIO_PIN_RESET);
			break;
		case adc4:
			HAL_GPIO_WritePin(GPIOE, GPIO_PIN_4, GPIO_PIN_RESET);
			break;

		case sram:
			HAL_GPIO_WritePin(GPIOC, GPIO_PIN_14, GPIO_PIN_RESET);
			break;
		case flash:
			HAL_GPIO_WritePin(GPIOC, GPIO_PIN_15, GPIO_PIN_RESET);
			break;

		case tc0:
			HAL_GPIO_WritePin(GPIOC, GPIO_PIN_0, GPIO_PIN_RESET);
			break;
		case tc1:
			HAL_GPIO_WritePin(GPIOC, GPIO_PIN_3, GPIO_PIN_RESET);
			break;
		case tc2:
			HAL_GPIO_WritePin(GPIOA, GPIO_PIN_4, GPIO_PIN_RESET);
			break;
		case tc3:
			HAL_GPIO_WritePin(GPIOC, GPIO_PIN_4, GPIO_PIN_RESET);
			break;

		case spirit:
			HAL_GPIO_WritePin(GPIOA, GPIO_PIN_15, GPIO_PIN_SET);
			break;

		default:
			break;
	}
}
void release_device(uint8_t device){
	switch(device){
		case adc0:
			HAL_GPIO_WritePin(GPIOC, GPIO_PIN_12, GPIO_PIN_SET);
			break;
		case adc1:
			HAL_GPIO_WritePin(GPIOE, GPIO_PIN_15, GPIO_PIN_SET);
			break;
		case adc2:
			HAL_GPIO_WritePin(GPIOD, GPIO_PIN_0, GPIO_PIN_SET);
			break;
		case adc3:
			HAL_GPIO_WritePin(GPIOE, GPIO_PIN_14, GPIO_PIN_SET);
			break;
		case adc4:
			HAL_GPIO_WritePin(GPIOE, GPIO_PIN_4, GPIO_PIN_SET);
			break;

		case sram:
			HAL_GPIO_WritePin(GPIOC, GPIO_PIN_14, GPIO_PIN_SET);
			break;
		case flash:
			HAL_GPIO_WritePin(GPIOC, GPIO_PIN_15, GPIO_PIN_SET);
			break;

		case tc0:
			HAL_GPIO_WritePin(GPIOC, GPIO_PIN_0, GPIO_PIN_SET);
			break;
		case tc1:
			HAL_GPIO_WritePin(GPIOC, GPIO_PIN_3, GPIO_PIN_SET);
			break;
		case tc2:
			HAL_GPIO_WritePin(GPIOA, GPIO_PIN_4, GPIO_PIN_SET);
			break;
		case tc3:
			HAL_GPIO_WritePin(GPIOC, GPIO_PIN_4, GPIO_PIN_SET);
			break;

		case spirit:
			HAL_GPIO_WritePin(GPIOA, GPIO_PIN_15, GPIO_PIN_RESET);
			break;

		default:
			break;
	}
}
// In progress
void read_adc_brute(){

	// Temp Buffers
	uint8_t tx[2];
	uint8_t rx[2];

	 __disable_irq();

	for(uint8_t adcn = adc0; adcn <= adc4; adcn++){

		// Select channel 0 to start
		tx[0] = 0;
		tx[1] = 0b0000100;
		select_device(adcn);
		if(HAL_SPI_TransmitReceive(&hspi1, tx, rx, 2, 1) ==  HAL_TIMEOUT){
			//count3++;
		}
		release_device(adcn);

		for(uint8_t channel = 1; channel <= 16; channel++){

			tx[0] = (channel >> 1) | 0b00001000;
			tx[1] = (channel << 7) | 0b00000100;
			select_device(adcn);
			if(HAL_SPI_TransmitReceive(&hspi1, tx, rx, 2, 1) == HAL_TIMEOUT){

			}

			release_device(adcn);
			adc_data[adcn-adc0][channel-1] = ((rx[1])|(rx[0] << 8)) & 0x0FFF;

		}
	}
	 __enable_irq();
}
// Debug functions
void print_adc_raw(UART_HandleTypeDef device){

	uint8_t line[255];

	snprintf(line, sizeof(line), "\f\r\nChannel\tADC0\tADC1\tADC2\tADC3\tADC4\r\n", adc_data);
	while(HAL_UART_GetState(&device) == HAL_UART_STATE_BUSY_TX);
	HAL_UART_Transmit(&device, (uint8_t*)line, strlen(line), 1);

	for(uint8_t channel = 0; channel <= 15; channel++){
		HAL_Delay(40);
		snprintf(line, sizeof(line), "%d:\t%d\t%d\t%d\t%d\t%d\t\r\n", channel, adc_data[0][channel], adc_data[1][channel], adc_data[2][channel], adc_data[3][channel], adc_data[4][channel]);
		while(HAL_UART_GetState(&huart1) == HAL_UART_STATE_BUSY_TX);
		HAL_UART_Transmit(&device, (uint8_t*)line, strlen(line), 1);
	}

}
uint8_t configure_devices(){

	uint8_t config_succcess = 0;

	if(0){

		uint8_t line[32];
		snprintf(line, sizeof(line), "+++");
		while(HAL_UART_GetState(&huart1) == HAL_UART_STATE_BUSY_TX);
		HAL_UART_Transmit(&spirit_com, (uint8_t*)line, strlen(line), 1);

		HAL_Delay(50);

		snprintf(line, sizeof(line), "ATS02=115200\r\n");
		while(HAL_UART_GetState(&huart1) == HAL_UART_STATE_BUSY_TX);
		HAL_UART_Transmit(&spirit_com, (uint8_t*)line, strlen(line), 1);

		HAL_Delay(50);

		snprintf(line, sizeof(line), "ATO\r\n");
		while(HAL_UART_GetState(&huart1) == HAL_UART_STATE_BUSY_TX);
		HAL_UART_Transmit(&spirit_com, (uint8_t*)line, strlen(line), 1);

		//trace_printf("Spirit_config done\r\n");

	}

	if(0){

			uint8_t tx[2];
			uint8_t rx[2];

			for(uint8_t adcn = adc0; adcn <= adc4; adcn++){

				// Select channel 0 to start
				tx[0] = 0;
				tx[1] = 0;
				select_device(adcn);
				HAL_SPI_TransmitReceive_IT(&hspi1, tx, rx, 2);
				release_device(adcn);

			}

	}

	return config_succcess;

}

void send_telem(UART_HandleTypeDef device, uint8_t format){

	uint8_t line[2048];

	switch(format){
		case gui_v1:
		{

			uint16_t mask = 1;
			uint8_t valve_state[16];
			for(int n = 0; n < 16; n++){

				// Extract the valve state
				if(mask & valve_states){
					valve_state[n] = 1;
				}
				else{
					valve_state[n] = 0;
				}
				mask <<= 1;
			}

			snprintf(line, sizeof(line), "%u,%.1f,%.1f,%.1f,%.1f,%.1f,%.1f,%.1f,%.1f,%d,%.2f,%.2f,%u,%u,%u,%u,%.2f,%.2f,%u,%.3f,%.3f,%.3f,%.2f,%.2f,%d,%d,%u,%u,%u,%u,%.1f,%.1f,%.1f,%.1f,%.1f,%.0f,%.0f,%.0f,%.0f,%d,%s,\r\n",valve_states,pressure[0],pressure[1],pressure[2],pressure[3],pressure[4],pressure[5],pressure[6],pressure[7],samplerate,motor_setpoint[0],motor_setpoint[1],main_cycle_time[0],motor_cycle_time[0],adc_cycle_time[0],telemetry_cycle_time[0],ebatt,ibus,telemetry_rate[0],motor_control_gain[0],motor_control_gain[1],motor_control_gain[2],motor_position[0],motor_position[1],motor_pwm[0],motor_pwm[1],count1,count2,count3,STATE,load[0],load[1],load[2],load[3],thrust_load,thermocouple[0],thermocouple[1],thermocouple[2],thermocouple[3],auto_states,AUTOSTRING);

			//while(HAL_UART_GetState(&device) == HAL_UART_STATE_BUSY_TX);
			HAL_UART_Transmit(&device, (uint8_t*)line, strlen(line), 1);

			strcpy(AUTOSTRING, "0");	// Only send it once every time it is modified
		}
			break;

		case gui_byte_packet:
			command(led0, 1);
			pack_telem(telem_unstuffed);
			stuff_telem(telem_unstuffed, telem_stuffed);
			HAL_UART_Transmit(&device, (uint8_t*)telem_stuffed, PACKET_SIZE+2, 1);
			command(led0, 0);
			break;

		case small_pretty:
		{
			snprintf(line, sizeof(line), "\fBatt: %.2f volts\r\n", ebatt);
			while(HAL_UART_GetState(&device) == HAL_UART_STATE_BUSY_TX);
			HAL_UART_Transmit(&device, (uint8_t*)line, strlen(line), 1);
			break;
		}
		case full_pretty:
		{
			snprintf(line, sizeof(line), "\fSTATE: %s\r\n"
					"Vlv:\tVolts   Amps  State ||| Pressures\r\n", states[STATE]);
			while(HAL_UART_GetState(&device) == HAL_UART_STATE_BUSY_TX);
			HAL_UART_Transmit(&device, (uint8_t*)line, strlen(line), 1);

			uint16_t mask = 1;
			uint8_t one_state;
			for(int n = 0; n < 16; n++){

				// Extract the valve state
				if(mask & valve_states){
					one_state = 1;
				}
				else{
					one_state = 0;
				}
				mask <<= 1;

				snprintf(line, sizeof(line), "%d:\t%.2fV\t%.2fA\t%d   ||| %d\t%.2f\r\n", n, evlv[n], ivlv[n], one_state, n, pressure[n]);
				while(HAL_UART_GetState(&device) == HAL_UART_STATE_BUSY_TX);
				HAL_UART_Transmit(&device, (uint8_t*)line, strlen(line), 1);
			}
			snprintf(line, sizeof(line), "Motor Data:\tSet\tPos\tPWM\tKp\tKi\tKd\r\n");
			while(HAL_UART_GetState(&device) == HAL_UART_STATE_BUSY_TX);
			HAL_UART_Transmit(&device, (uint8_t*)line, strlen(line), 1);
			for(int n = 0; n <= 3; n++){
				snprintf(line, sizeof(line), "mtr%d:\t\t%.2f\t%.2f\t%d\t%.3f\t%.3f\t%.3f\r\n",
						n, motor_setpoint, motor_position[n], motor_pwm[n], motor_control_gain[Kp],
						motor_control_gain[Ki], motor_control_gain[Kd]);
				while(HAL_UART_GetState(&device) == HAL_UART_STATE_BUSY_TX);
				HAL_UART_Transmit(&device, (uint8_t*)line, strlen(line), 1);
			}

			snprintf(line, sizeof(line), "Board Telemtry\r\n"
					"12V:\t%.2fv\t5v:\t%.2f\t3.3V:\t%.2f\r\n"
					"Tbrd:\t%.1f\tTvlv:\t%.f\tTmtr:\t%.1f\r\n"
					"Count 1:\t%d\r\n"
					"Count 2:\t%d\r\n"
					"Count 3:\t%d\r\n"
					"Command Line:\r\n",
					ebatt, e5v, e3v, tbrd, tbrd, tbrd, count1, count2, count3);
			while(HAL_UART_GetState(&device) == HAL_UART_STATE_BUSY_TX);
			HAL_UART_Transmit(&device, (uint8_t*)line, strlen(line), 1);

			// Print command buffer
			for(uint8_t n = 0; n < COMMAND_HISTORY; n++){
				snprintf(line, sizeof(line), "%s\r\n", command_buffer[n]);
				while(HAL_UART_GetState(&device) == HAL_UART_STATE_BUSY_TX);
				HAL_UART_Transmit(&device, (uint8_t*)line, strlen(line), 1);
			}
		}
			break;
		default:
			break;
	}

}
void assemble_telem(){

	telem_unstuffed[0] = valve_states >> 8;
	telem_unstuffed[1] = valve_states & 0x00ff;
	telem_unstuffed[2] = STATE;

	for(int p = 0; p < 16; p++){
		telem_unstuffed[2+2*p-1] = ((uint16_t) pressure[p]) >> 8;
		telem_unstuffed[2+2*p] = ((uint16_t) pressure[p]) & 0x00ff;
	}

	// Stuff the data here
	// HERE "stuff_data(blah blah);

	unstuffed_packet_length = 32;

}
void buffer_init(struct buffer *b, uint8_t* data_buffer, size_t size, uint8_t id){
	b->start = data_buffer;
	b->end = (data_buffer)+size;
	b->head = b->start;
	b->tail = b->start;
	b->length = b->end - b->start;
	b->filled = 0;
	b->id = id;
	b->new_data = 0;

	for(uint16_t n = 0; n < b->length; n++){
		data_buffer[n] = 0;
	}
}
void buffer_read(struct buffer *b, uint8_t* dst, size_t size){
	assert(size<=b->filled);
	for(uint16_t n = 0; n < size; n++){
		*(dst++) = *(b->tail++);
		if(b->tail > b-> end){
			b->tail = b->start;
		}
		b->filled--;
	}
}
void buffer_write(struct buffer *b, uint8_t* src, size_t size){
	for(uint16_t n = 0; n < size; n++){	// How even many bytes there are to write (Usually just 1)
		*(b->head++) = *(src++);		// Write a byte
		if(b->head > b-> end){			// Wrap around if we went past max address
			b->head = b->start;			// Set the head to the start
		}
		if(b->head==b->tail){			// Head has hit the tail
			b->tail++;					// Inc tail
			if(b->tail > b->end){		// Did the tail hit the max addr
				b->tail = b->start;		// Yep, send it to the start
			}
		}
		else{
			b->filled++;				// No hits, just incr filled
		}
	}
	b->new_data++;					// We now need to run parse_buffer at some point
}
void parse_buffer(struct buffer *b){

	for(uint8_t* data_ptr = (b->head)-(b->new_data); data_ptr < b->head; data_ptr++){

		if(b->id == COMMAND_SOURCE){									// Is this the command source
			for(uint8_t n = 0; n < COMMAND_BUFFER_LENGTH; n ++){		// Copy the buffer into the command buffer then
				command_buffer[command_index][n] = rs422_data_buf[n];	//
			}

			if(*(data_ptr) == '\r'){											// Got a return char, run the command and clear the command buffer
				if(command_index < COMMAND_HISTORY-1){					// Register the command
					command_index++;
					serial_command(command_buffer[command_index-1]);	// Copy into command history buffers
				}
				else{													// Command history full, shift all the buffers
					serial_command(command_buffer[command_index]);
					// Shift all the lines up 1, (new command line)
					for(uint8_t n = 0; n < COMMAND_HISTORY-1; n++){
						strcpy(command_buffer[n], command_buffer[n+1]);
					}
				}
				// Clear the new line of the command buffer
				for(uint8_t n = 0; n < 64; n ++){
					command_buffer[command_index][n] = 0;
				}
				// Clear the serial buffer on the commanding channel
				buffer_init(&rs422_buf, rs422_data_buf, UART_BUFFER_SIZE, rs422);
			}
		}
	}
	b->new_data = 0;		// We parsed all new data
}
void scale_readings(){

	for(uint8_t adcn = 0; adcn < 2; adcn++){
		for(uint8_t n = 0; n < 8; n++){
			evlv[7-n+(8*adcn)] = (adc_data[adcn][(2*n)+1])*evlv_cal;
			ivlv[7-n+(8*adcn)] = (adc_data[adcn][(2*n)])*ivlv_cal;
		}
	}

	ebatt = (adc_data[2][0])*ebatt_cal;
	ibus = (adc_data[2][1])*ibus_cal;
	e5v = (adc_data[2][2])*e5v_cal;
	e3v = (adc_data[2][3])*e3v_cal;
	float e3v_correction_factor = 3.300/e3v;

	for(uint8_t n = 0; n <= 3; n++){
		motor_position[n] = adc_data[2][12+n]*motor_pot_slope[n];
		motor_position[n] *= e3v_correction_factor;
		motor_position[n] -= motor_pot_offset[n];
	}

	tbrd = (adc_data[2][5])/1.24;
	tbrd -= 600;

	for(uint8_t n = 0; n < 16; n ++){
		pressure[n] = adc_data[4][15-n]-press_cal[OFFSET][n];
		pressure[n] *= press_cal[SLOPE][n];
	}

	load[0] = adc_data[3][15];
	load[1] = adc_data[3][14];
	load[2] = adc_data[3][13];
	load[3] = adc_data[3][12];
	for(uint8_t n = 0; n < 6; n++){
		load[n] -= load_cal[OFFSET][n];
		load[n] *= load_cal[SLOPE][n];
	}

	thrust_load = load[0]+load[1]+load[2]+load[3];

}
uint32_t  serial_command(uint8_t* cbuf_in){

	char cbuf[COMMAND_BUFFER_LENGTH];
	strcpy(cbuf, cbuf_in);
	char argv[MAX_COMMAND_ARGS][MAX_COMMAND_LENGTH];
	const char s[2] = " ";
	char *token;
	token = strtok(cbuf, s);
	int argc = 0;
	while( token != NULL ){
		strcpy(argv[argc++], token);
		token = strtok(NULL, s);
	}

	if(strcmp(argv[0], "save_auto") == 0){
		autos[LOG_TO_AUTO].current_index = 0;
		print_auto(LOG_TO_AUTO);		// Automatically print it when you finish to verify
		LOG_TO_AUTO = -1;
	}

	if(LOG_TO_AUTO != -1){
		// We are logging to auto index contained in LOG_TO_AUTO
		if(strlen(cbuf_in) <= AUTO_STRING_LENGTH){
			strcpy(autos[LOG_TO_AUTO].command[autos[LOG_TO_AUTO].current_index], cbuf_in);
		}
		else{
			strcpy(autos[LOG_TO_AUTO].command[autos[LOG_TO_AUTO].current_index], "ERROR, COMMAND TO LONG");
		}
		autos[LOG_TO_AUTO].length++;
		autos[LOG_TO_AUTO].current_index++;
		return 0;
	}

	if((strcmp(argv[0], "delay") == 0)){
		return atoi(argv[1]);
	}

	// "command"
	if((strcmp(argv[0], "command") == 0)){
		uint8_t device;
		// Get the device id
		for(device = 0; device < 100; device++){
			if(strcmp(argv[1], device_alias[device]) == 0) break;
		}
		int command_value = atoi(argv[2]);

		command(device, command_value);

	}
	// END "command"

	// "clear"
	// Clears the command history
	else if(strcmp(argv[0], "clear") == 0){
		for(uint8_t n = 0; n < COMMAND_HISTORY; n++){
			for(uint16_t m = 0; m < COMMAND_BUFFER_LENGTH; m++){
				command_buffer[n][m] = 0;
			}
		}
		command_index = 0;
	} // END clear

	// arm
	if((strcmp(argv[0], "arm") == 0)){
		if(STATE == MANUAL){
			STATE = ARMED;
			//command(mtr0, 0);
			//command(mtr1, 0);
			serial_command("enable mtr0 \r");
			serial_command("enable mtr1 \r");
		}
	} // END arm

	// disarm
	if((strcmp(argv[0], "disarm") == 0)){

		STATE = MANUAL;
		serial_command("disable mtr0 \r");
		serial_command("disable mtr1 \r");

	}	// END disarm

	// hotfire
	if((strcmp(argv[0], "hotfire") == 0)){
		if(STATE == ARMED){
			STATE = PRE_IGNITION;
			state_timer = micros;
			start_auto(&hotfire_auto);
		}
	}	// END hotfire

	// set
	else if(strcmp(argv[0], "set") == 0){
		if(strcmp(argv[1], "telemformat") == 0){

			uint8_t temp_format;

			// Get the format
			if(strcmp(argv[3], "gui_1") == 0){
				temp_format = gui_v1;
			}
			else if(strcmp(argv[3], "full_pretty") == 0){
				temp_format = full_pretty;
			}
			else if(strcmp(argv[3], "none") == 0){
				temp_format = none;
			}

			// Set the format
			if(strcmp(argv[2], "xbee") == 0){
				telemetry_format[xbee] = temp_format;
			}
			else if(strcmp(argv[2], "rs422") == 0){
				telemetry_format[rs422] = temp_format;
			}
			else if(strcmp(argv[2], "spirit") == 0){
				telemetry_format[spirit] = temp_format;
			}
		}	// end telemformat
		if(strcmp(argv[1], "telemrate") == 0){

			uint16_t rate = atoi(argv[3]);

			// Set the format
			if(strcmp(argv[2], "xbee") == 0){
				telemetry_rate[xbee] = rate;
			}
			else if(strcmp(argv[2], "rs422") == 0){

				uint16_t period = 100000/rate;

				HAL_TIM_Base_Stop_IT(&htim6);

				htim6.Instance = TIM6;
				htim6.Init.Prescaler = 900;
				htim6.Init.CounterMode = TIM_COUNTERMODE_UP;
				htim6.Init.Period = period;
				htim6.Init.ClockDivision = TIM_CLOCKDIVISION_DIV1;
				HAL_TIM_Base_Init(&htim6);

				HAL_TIM_Base_Start_IT(&htim6);

				telemetry_rate[rs422] = (100000/period);	// Actual rate
			}
			else if(strcmp(argv[2], "spirit") == 0){
				telemetry_rate[spirit] = rate;
			}
		}	// end telemformat
		if(strcmp(argv[1], "samplerate") == 0){

			samplerate = atoi(argv[2]);
			uint16_t period = 100000/samplerate;

			HAL_TIM_Base_Stop_IT(&htim4);

			htim4.Instance = TIM4;
			htim4.Init.Prescaler = 900;
			htim4.Init.CounterMode = TIM_COUNTERMODE_UP;
			htim4.Init.Period = period;
			htim4.Init.ClockDivision = TIM_CLOCKDIVISION_DIV1;
			HAL_TIM_Base_Init(&htim4);

			HAL_TIM_Base_Start_IT(&htim4);

			samplerate = (100000/period);	// Actual rate

		}	// End set samplerate
		else if(strcmp(argv[1], "gain") == 0){
			uint8_t gain = atoi(argv[2]);
			char* end;
			float val = strtof(argv[3], &end);

			motor_control_gain[gain] = val;
		}
		else if(strcmp(argv[1], "offset") == 0){
			press_cal[OFFSET][atoi(argv[2])] = atoi(argv[3]);
		}
		else if(strcmp(argv[1], "slope") == 0){
			char* end;
			press_cal[SLOPE][atoi(argv[2])] = strtof(argv[3], &end);
		}
		else if(strcmp(argv[1], "pot_offset") == 0){
			char* end;
			motor_pot_offset[atoi(argv[2])] = strtof(argv[3], &end);
		}
		else if(strcmp(argv[1], "burn_duration") == 0){
			FIRING_DURATION = atoi(argv[2]);
		}
		else if(strcmp(argv[1], "ignition_duration") == 0){
			IGNITION_DURATION = atoi(argv[2]);
		}
		else if(strcmp(argv[1], "post_ignite_delay") == 0){
			POST_IGNITE_DELAY = atoi(argv[2]);
		}

	}	// End "set"
	else if(strcmp(argv[0], "ambientize") == 0){
		//for(uint8_t n = 0; n < 16; n++){
			press_cal[OFFSET][atoi(argv[1])] = adc_data[4][15-atoi(argv[1])];
		//}
	}
	else if(strcmp(argv[0], "enable") == 0){
		// Get the device id
		for(uint8_t n = mtr0; n <= mtr3; n++){
			if(strcmp(argv[1], device_alias[n]) == 0){
				motor_active[n-mtr0] = 1;
				motor_accumulated_error[n-mtr0] = 0;
			}
		}
	}
	else if(strcmp(argv[0], "disable") == 0){
		// Get the device id
		for(uint8_t n = mtr0; n <= mtr3; n++){
			if(strcmp(argv[1], device_alias[n]) == 0){
				motor_active[n-mtr0] = 0;
			}
		}
	}
	else if(strcmp(argv[0], "log") == 0){
		if((strcmp(argv[1], "start") == 0)){
			LOGGING_ACTIVE = 1;
			// Open a csv file and print the header
			// put code here
		}
		else if(strcmp(argv[0], "stop") == 0){
			LOGGING_ACTIVE = 0;
		}
	}
	else if(strcmp(argv[0], "tare") == 0){
		load_cal[OFFSET][0] = adc_data[3][15];
		load_cal[OFFSET][1] = adc_data[3][14];
		load_cal[OFFSET][2] = adc_data[3][13];
		load_cal[OFFSET][3] = adc_data[3][12];
	}
	else if(strcmp(argv[0], "new_auto") == 0){
		LOG_TO_AUTO = atoi(argv[1]);
	}
	else if(strcmp(argv[0], "start_auto") == 0){
		start_auto(&autos[atoi(argv[1])]);
	}
	else if(strcmp(argv[0], "stop_auto") == 0){
		if(strcmp(argv[1], "hotfire_auto") == 0){
			count1++;
			stop_auto(&hotfire_auto);
		}
		else{
			stop_auto(&autos[atoi(argv[1])]);
		}
	}
	else if(strcmp(argv[0], "kill_auto") == 0){
		if(strcmp(argv[1], "hotfire_auto") == 0){
			kill_auto(&hotfire_auto);
		}
		else{
			kill_auto(&autos[atoi(argv[1])]);
		}
	}
	else if(strcmp(argv[0], "print_auto") == 0){
		print_auto(&autos[atoi(argv[1])]);
	}

	// QD
	else if(strcmp(argv[0], "connect") == 0){
		if(strcmp(argv[1], "ox") == 0){
			writeMotor(mtr2, -16000);
			qd_stop_time = millis + QD_ACTUATION_TIME;
		}
		else if(strcmp(argv[1], "fuel") == 0){
			writeMotor(mtr3, -16000);
			qd_stop_time = millis + QD_ACTUATION_TIME;
		}
	}
	else if(strcmp(argv[0], "release") == 0){
		if(strcmp(argv[1], "ox") == 0){
			writeMotor(mtr2, 16000);
			qd_stop_time = millis + QD_ACTUATION_TIME;
		}
		else if(strcmp(argv[1], "fuel") == 0){
			writeMotor(mtr3, 16000);
			qd_stop_time = millis + QD_ACTUATION_TIME;
		}
	}

	else{
		// Invalid command
		cbuf[strlen(cbuf)] = " - INVALID COMMAND";
	}

	return 0;
}
void setpwm(TIM_HandleTypeDef timer, uint32_t channel, uint16_t period, uint16_t pulse)
{
 HAL_TIM_PWM_Stop(&timer, channel); // stop generation of pwm
 TIM_OC_InitTypeDef sConfigOC;
 timer.Init.Period = period; // set the period duration
 HAL_TIM_PWM_Init(&timer); // reinititialise with new period value

 sConfigOC.OCMode = TIM_OCMODE_PWM1;
 sConfigOC.Pulse = pulse; // set the pulse duration
 sConfigOC.OCPolarity = TIM_OCPOLARITY_HIGH;
 sConfigOC.OCFastMode = TIM_OCFAST_DISABLE;
 HAL_TIM_PWM_ConfigChannel(&timer, &sConfigOC, channel);

 HAL_TIM_PWM_Start(&timer, channel); // start pwm generation
}
void error(char * error_message){

}

read_thermocouples(){

	__disable_irq();
	uint8_t tx[4];
	uint8_t rx[4];

	for(uint8_t tcx = tc0; tcx <= tc3; tcx++){

		select_device(tcx);
		HAL_SPI_TransmitReceive(&hspi2, tx, rx, 4, 1);
		release_device(tcx);

		int16_t data;
		data = rx[0];
		data <<= 8;
		data |= rx[1];
		data >>= 4;
		thermocouple[tcx-tc0] = data;

	}
	__enable_irq();
}
void run_auto(struct autosequence *a){
	if(a->running == 1){
		if(millis > a->next_exec){

			if(a->current_index == a->length){
				a->current_index = 0;
			}
			else{
				a->last_exec = millis;
				a->next_exec = millis + serial_command(a->command[a->current_index]);
				a->current_index++;
			}
		}
	}
}
void start_auto(struct autosequence *a){

	a->current_index = 0;
	a->running = 1;
	a->next_exec = millis;	// Execute the first command as soon as run_autos is called

	// State feedback to show the auto is running
	uint16_t mask = 1 << a->number;
	auto_states |= mask;

}
void stop_auto(struct autosequence *a){
	// This will eventually be a more graceful version of kill
	// ... so it dosent leave things in a weird state
	// ... TODO
	kill_auto(a);
}
void kill_auto(struct autosequence *a){
	a->running = 0;
	// State feedbck to show the auto is stopped
	uint16_t mask = 1 << a->number;
	auto_states ^= mask;
}
void print_auto(struct autosequence *a){
	AUTOSTRING[0] = '\0';
	//snprintf(AUTOSTRING, sizeof(AUTOSTRING), "Device\tCommand\n");
	for(uint16_t n = 0; n < a->length; n++){		// Recursivley generate the autostring
		uint8_t stripped_string [AUTO_STRING_LENGTH];
		strcpy(stripped_string, a->command[n]);
		strtok(stripped_string, "\r\n");
		strcat(stripped_string, "|");
		strcat(AUTOSTRING, stripped_string);
	}
}
/* USER CODE END 4 */

void _Error_Handler(char *file, int line)
{
  while(1)
  {
  }
}

/************************ (C) COPYRIGHT STMicroelectronics *****END OF FILE****/
